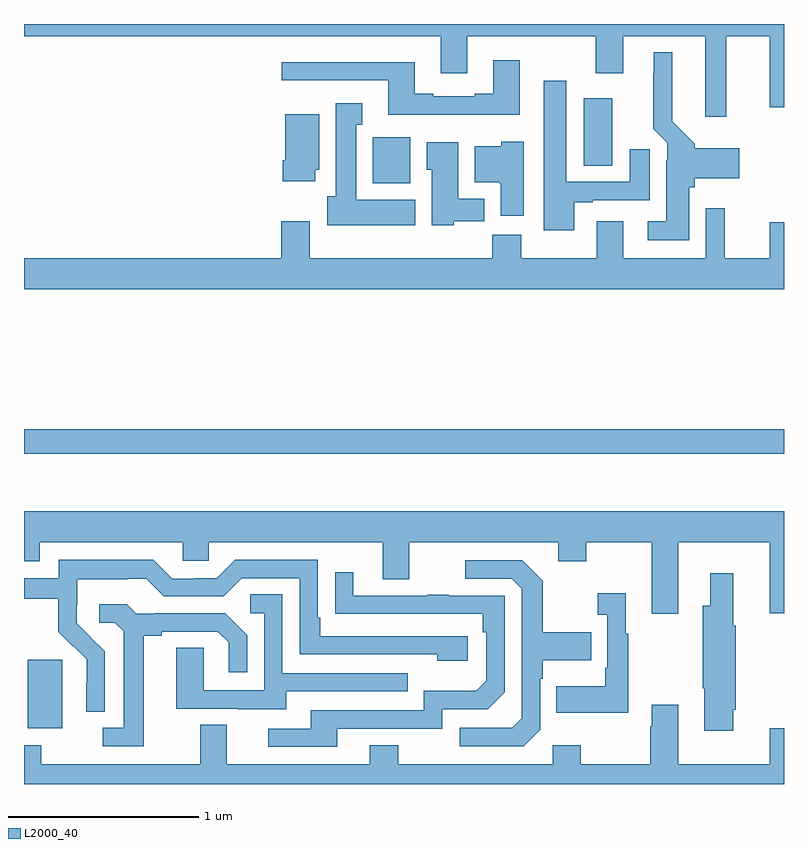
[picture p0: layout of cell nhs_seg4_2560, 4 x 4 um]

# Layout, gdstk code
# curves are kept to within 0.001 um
import gdstk
lib = gdstk.Library(unit=1e-6, precision=1e-09)
def R(c, l, rs):  # rectangles x0, y0, x1, y1
    for r in rs: c.add(gdstk.rectangle(r[:2], r[2:], *l))
def P(c, l, *ps):  # polygons
    for p in ps: c.add(gdstk.Polygon(p, *l))
L2000_40 = (2000, 40)

nhs_seg4_2560 = lib.new_cell('nhs_seg4_2560')
R(nhs_seg4_2560, L2000_40, [(245.021,777.194,245.2,777.555), (245,778.638,249,778.766), (246.836,780.062,247.033,780.304), (247.946,780.154,248.095,780.508)])
P(nhs_seg4_2560, L2000_40, [(248.695,780.836),(248.924,780.836),(248.924,780.462),(249,780.462),(249,780.9),(245,780.9),(245,780.836),(247.193,780.836),(247.193,780.642),(247.333,780.642),(247.333,780.836),(248.008,780.836),(248.008,780.642),(248.155,780.642),(248.155,780.836),(248.585,780.836),(248.585,780.411),(248.695,780.411)],
  [(248.5,780.042),(248.531,780.042),(248.531,780.089),(248.764,780.089),(248.764,780.247),(248.531,780.247),(248.531,780.27),(248.413,780.388),(248.413,780.751),(248.315,780.751),(248.315,780.641),(248.311,780.641),(248.311,780.35),(248.385,780.276),(248.385,780.182),(248.381,780.182),(248.381,779.863),(248.283,779.863),(248.283,779.762),(248.5,779.762)],
  [(247.609,780.709),(247.469,780.709),(247.469,780.532),(247.373,780.532),(247.373,780.519),(247.153,780.519),(247.153,780.532),(247.057,780.532),(247.057,780.7),(246.357,780.7),(246.357,780.603),(246.917,780.603),(246.917,780.422),(247.609,780.422)],
  [(247.897,779.961),(247.993,779.961),(247.993,779.973),(248.293,779.973),(248.293,780.241),(248.189,780.241),(248.189,780.069),(247.855,780.069),(247.855,780.601),(247.736,780.601),(247.736,779.814),(247.897,779.814)],
  [(247.06,779.974),(246.748,779.974),(246.748,780.371),(246.781,780.371),(246.781,780.484),(246.641,780.484),(246.641,779.994),(246.596,779.994),(246.596,779.84),(247.06,779.84)],
  [(246.532,780.132),(246.553,780.132),(246.553,780.424),(246.374,780.424),(246.374,780.184),(246.362,780.184),(246.362,780.072),(246.532,780.072)],
  [(247.63,780.28),(247.512,780.28),(247.512,780.256),(247.373,780.256),(247.373,780.068),(247.502,780.068),(247.502,780.062),(247.508,780.062),(247.508,779.892),(247.63,779.892)],
  [(247.263,779.862),(247.423,779.862),(247.423,779.98),(247.285,779.98),(247.285,780.277),(247.121,780.277),(247.121,780.132),(247.145,780.132),(247.145,779.84),(247.263,779.84)],
  [(249,779.857),(248.924,779.857),(248.924,779.668),(248.688,779.668),(248.688,779.929),(248.589,779.929),(248.589,779.668),(248.155,779.668),(248.155,779.863),(248.015,779.863),(248.015,779.668),(247.617,779.668),(247.617,779.792),(247.465,779.792),(247.465,779.668),(246.505,779.668),(246.505,779.863),(246.353,779.863),(246.353,779.668),(245,779.668),(245,779.504),(249,779.504)],
  [(248.443,778.172),(248.924,778.172),(248.924,777.798),(249,777.798),(249,778.336),(245,778.336),(245,778.073),(245.083,778.073),(245.083,778.172),(245.835,778.172),(245.835,778.074),(245.973,778.074),(245.973,778.172),(246.887,778.172),(246.887,777.978),(247.027,777.978),(247.027,778.172),(247.811,778.172),(247.811,778.073),(247.959,778.073),(247.959,778.172),(248.303,778.172),(248.303,777.795),(248.443,777.795)],
  [(245.424,777.598),(245.278,777.746),(245.278,777.843),(245.28,777.843),(245.28,777.977),(245.543,777.977),(245.543,777.981),(245.643,777.981),(245.736,777.888),(246.051,777.888),(246.147,777.984),(246.45,777.984),(246.45,777.582),(247.175,777.582),(247.175,777.548),(247.336,777.548),(247.336,777.678),(246.559,777.678),(246.559,777.775),(246.546,777.775),(246.546,778.08),(246.111,778.08),(246.015,777.984),(245.897,777.984),(245.897,777.981),(245.781,777.981),(245.681,778.081),(245.184,778.081),(245.184,777.984),(245,777.984),(245,777.876),(245.179,777.876),(245.179,777.701),(245.256,777.624),(245.259,777.627),(245.33,777.557),(245.33,777.434),(245.328,777.434),(245.328,777.28),(245.424,777.28)],
  [(247.716,777.186),(247.716,777.455),(247.729,777.455),(247.729,777.551),(247.985,777.551),(247.985,777.699),(247.729,777.699),(247.729,777.971),(247.623,778.077),(247.323,778.077),(247.323,777.981),(247.566,777.981),(247.62,777.927),(247.62,777.246),(247.569,777.195),(247.293,777.195),(247.293,777.099),(247.629,777.099)],
  [(246.649,777.192),(247.2,777.192),(247.2,777.294),(247.44,777.294),(247.53,777.384),(247.53,777.891),(247.235,777.891),(247.235,777.896),(247.123,777.896),(247.123,777.891),(246.733,777.891),(246.733,778.015),(246.637,778.015),(246.637,777.796),(247.414,777.795),(247.414,777.698),(247.434,777.698),(247.434,777.444),(247.381,777.391),(247.104,777.391),(247.104,777.288),(246.509,777.288),(246.509,777.192),(246.285,777.192),(246.285,777.096),(246.649,777.096)],
  [(248.734,777.292),(248.747,777.292),(248.747,777.734),(248.734,777.734),(248.734,778.009),(248.612,778.009),(248.612,777.838),(248.572,777.838),(248.572,777.403),(248.579,777.403),(248.579,777.18),(248.734,777.18)],
  [(248.179,777.691),(248.167,777.691),(248.167,777.904),(248.019,777.904),(248.019,777.791),(248.07,777.791),(248.07,777.511),(248.058,777.511),(248.058,777.415),(247.801,777.415),(247.801,777.275),(248.179,777.275)],
  [(246.379,777.387),(247.019,777.387),(247.019,777.483),(246.36,777.483),(246.36,777.899),(246.192,777.899),(246.192,777.798),(246.264,777.798),(246.264,777.393),(245.946,777.393),(245.946,777.617),(245.801,777.617),(245.801,777.297),(246.125,777.297),(246.125,777.293),(246.379,777.293)],
  [(245.629,777.68),(245.725,777.68),(245.725,777.702),(246.02,777.702),(246.077,777.645),(246.077,777.489),(246.174,777.489),(246.174,777.682),(246.058,777.798),(245.686,777.798),(245.686,777.795),(245.592,777.795),(245.54,777.847),(245.397,777.847),(245.397,777.75),(245.478,777.75),(245.525,777.703),(245.525,777.195),(245.415,777.195),(245.415,777.099),(245.629,777.099)],
  [(249,777.193),(248.924,777.193),(248.924,777.004),(248.443,777.004),(248.443,777.316),(248.303,777.316),(248.303,777.203),(248.296,777.203),(248.296,777.004),(247.929,777.004),(247.929,777.103),(247.782,777.103),(247.782,777.004),(246.969,777.004),(246.969,777.103),(246.821,777.103),(246.821,777.004),(246.067,777.004),(246.067,777.212),(245.927,777.212),(245.927,777.004),(245.091,777.004),(245.091,777.103),(245,777.103),(245,776.9),(249,776.9)])

lib.write_gds('nhs_seg4_2560.gds')
